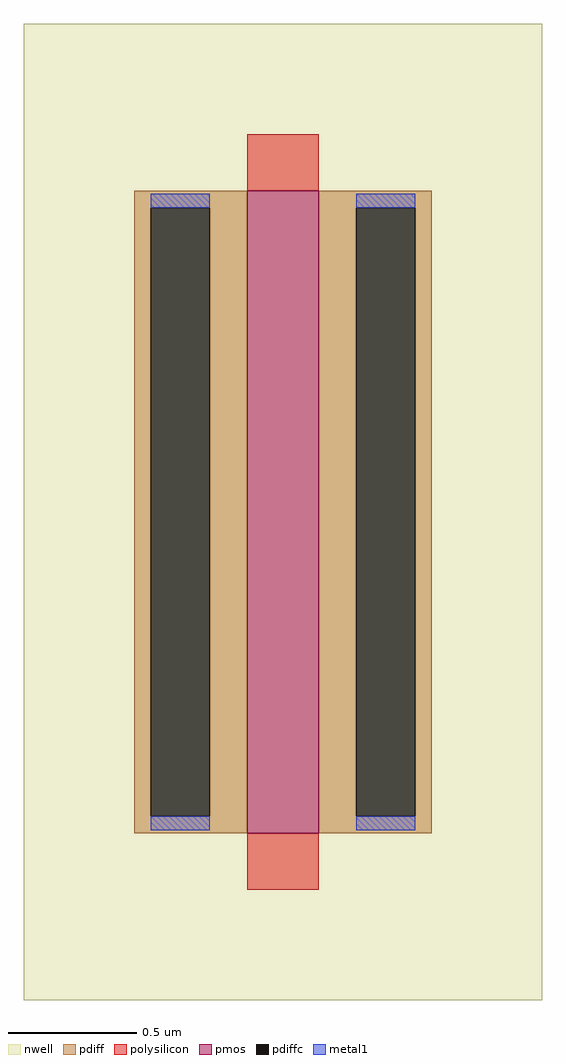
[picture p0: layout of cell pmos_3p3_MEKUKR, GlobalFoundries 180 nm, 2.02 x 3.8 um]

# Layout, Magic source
magic
tech gf180mcuC
magscale 1 10
<< nwell >>
rect -202 -380 202 380
<< pmos >>
rect -28 -250 28 250
<< pdiff >>
rect -116 237 -28 250
rect -116 -237 -103 237
rect -57 -237 -28 237
rect -116 -250 -28 -237
rect 28 237 116 250
rect 28 -237 57 237
rect 103 -237 116 237
rect 28 -250 116 -237
<< pdiffc >>
rect -103 -237 -57 237
rect 57 -237 103 237
<< polysilicon >>
rect -28 250 28 294
rect -28 -294 28 -250
<< metal1 >>
rect -103 237 -57 248
rect -103 -248 -57 -237
rect 57 237 103 248
rect 57 -248 103 -237
<< properties >>
string gencell pmos_3p3
string library gf180mcu
string parameters w 2.5 l 0.280 m 1 nf 1 diffcov 100 polycov 100 guard 0 glc 0 grc 0 gtc 0 gbc 0 tbcov 100 rlcov 100 topc 0 botc 0 poverlap 0 doverlap 1 lmin 0.28 wmin 0.22 full_metal 0 compatible {pmos_3p3 pmos_6p0}
<< end >>
